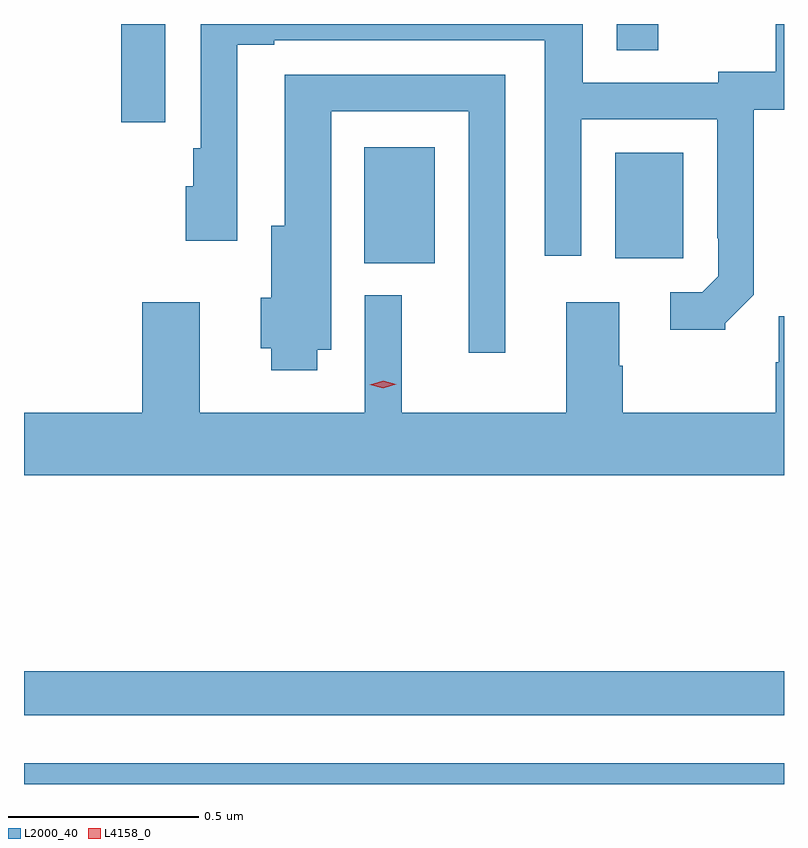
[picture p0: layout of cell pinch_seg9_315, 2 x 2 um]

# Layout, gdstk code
import gdstk
lib = gdstk.Library(unit=1e-6, precision=1e-09)
def R(c, l, rs):  # rectangles x0, y0, x1, y1
    for r in rs: c.add(gdstk.rectangle(r[:2], r[2:], *l))
def P(c, l, *ps):  # polygons
    for p in ps: c.add(gdstk.Polygon(p, *l))
L2000_40 = (2000, 40)
L4158_0 = (4158, 0)

pinch_seg9_315 = lib.new_cell('pinch_seg9_315')
R(pinch_seg9_315, L2000_40, [(609.564,1172.963,611.564,1173.018), (609.564,1173.144,611.564,1173.26), (610.46,1174.334,610.645,1174.639), (611.12,1174.347,611.299,1174.624), (609.82,1174.704,609.936,1174.963), (611.124,1174.894,611.233,1174.963)])
P(pinch_seg9_315, L2000_40, [(611.409,1174.176),(611.484,1174.251),(611.484,1174.737),(611.564,1174.737),(611.564,1174.963),(611.542,1174.963),(611.542,1174.838),(611.391,1174.838),(611.391,1174.809),(611.035,1174.809),(611.035,1174.963),(610.029,1174.963),(610.029,1174.636),(610.009,1174.636),(610.009,1174.536),(609.989,1174.536),(609.989,1174.392),(610.125,1174.392),(610.125,1174.908),(610.222,1174.908),(610.222,1174.92),(610.935,1174.92),(610.935,1174.353),(611.031,1174.353),(611.031,1174.713),(611.388,1174.713),(611.388,1174.399),(611.391,1174.399),(611.391,1174.299),(611.349,1174.257),(611.265,1174.257),(611.265,1174.159),(611.409,1174.159)],
  [(610.336,1174.106),(610.372,1174.106),(610.372,1174.734),(610.734,1174.734),(610.734,1174.098),(610.83,1174.098),(610.83,1174.83),(610.25,1174.83),(610.25,1174.432),(610.214,1174.432),(610.214,1174.242),(610.187,1174.242),(610.187,1174.11),(610.214,1174.11),(610.214,1174.052),(610.336,1174.052)],
  [(611.564,1174.194),(611.55,1174.194),(611.55,1174.073),(611.542,1174.073),(611.542,1173.94),(611.139,1173.94),(611.139,1174.064),(611.131,1174.064),(611.131,1174.231),(610.991,1174.231),(610.991,1173.94),(610.558,1173.94),(610.558,1174.249),(610.461,1174.249),(610.461,1173.94),(610.027,1173.94),(610.027,1174.231),(609.875,1174.231),(609.875,1173.94),(609.564,1173.94),(609.564,1173.776),(611.564,1173.776)])
P(pinch_seg9_315, L4158_0, [(610.509,1174.004),(610.474,1174.014),(610.474,1174.014),(610.474,1174.014),(610.509,1174.024),(610.544,1174.015),(610.544,1174.015),(610.544,1174.015)])

lib.write_gds('pinch_seg9_315.gds')
